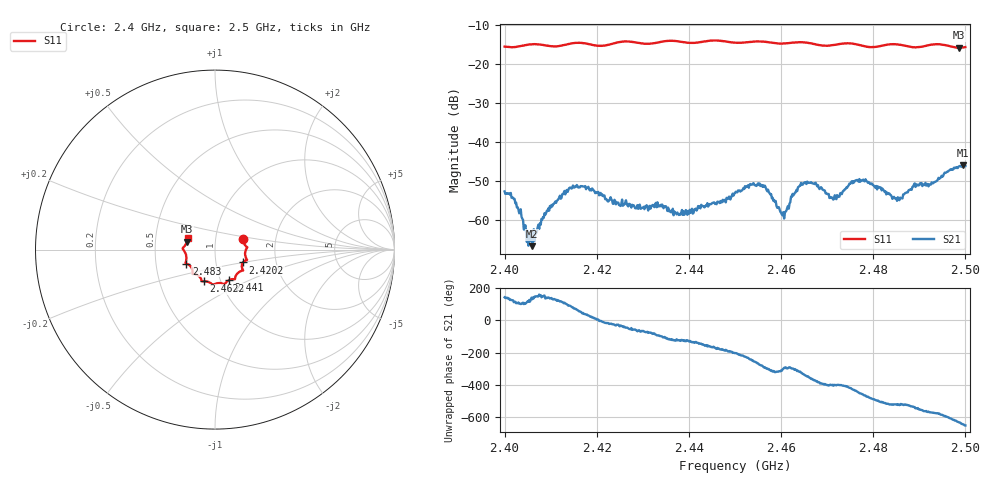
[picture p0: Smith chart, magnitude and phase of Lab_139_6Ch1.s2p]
# Hz S RI R 50
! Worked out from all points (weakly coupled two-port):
!   601 points, 2.4 GHz to 2.5 GHz, reference 50 ohm
!   highest |S21| = -46.00 dB at 2.4995 GHz (marker M1); lowest = -66.7 dB at 2.406 GHz (marker M2)
!   lowest |S11| = -15.8 dB at 2.4987 GHz (marker M3), VSWR 1.39, Z = 36.4 + j3.29 ohm
!   |S11| at or under -10 dB: start of sweep to end of sweep
!   S12 and S22 are empty: the file has one direction only
!   S11 on the Smith chart (normalised r, x): 2.4 GHz: 1.36, +0.17; 2.4202 GHz: 1.35, -0.20; 2.441 GHz: 1.10, -0.39; 2.4622 GHz: 0.83, -0.30; 2.483 GHz: 0.72, -0.12; 2.5 GHz: 0.73, +0.09
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2.4e9  0.1564 0.0605  -0.00185 0.00141  0 0  0 0
2.401833e9  0.1603 0.0384  -0.00108 0.0016  0 0  0 0
2.404667e9  0.175 0.0168  -0.000203 0.000679  0 0  0 0
2.406e9  0.1794 0.0135  -0.000299 0.000351  0 0  0 0
2.413e9  0.171 -0.0411  -0.00077 0.00223  0 0  0 0
2.416667e9  0.1776 -0.0583  0.00177 0.00207  0 0  0 0
2.420167e9  0.1562 -0.0718  0.00224 0.00016  0 0  0 0
2.433333e9  0.113 -0.1523  -0.000106 -0.00149  0 0  0 0
2.441e9  0.0768 -0.1703  -0.000883 -0.000858  0 0  0 0
2.45e9  0.0266 -0.1862  -0.00202 0.00092  0 0  0 0
2.456167e9  -0.0144 -0.1936  0.000932 0.00262  0 0  0 0
2.460333e9  -0.0462 -0.1775  0.000648 0.000948  0 0  0 0
2.462167e9  -0.0631 -0.1764  0.000917 0.00178  0 0  0 0
2.466667e9  -0.0766 -0.1667  0.00296 -0.000165  0 0  0 0
2.471e9  -0.1059 -0.1383  0.00142 -0.00128  0 0  0 0
2.4765e9  -0.1252 -0.1272  0.000395 -0.00324  0 0  0 0
2.483e9  -0.1591 -0.078  -0.00209 -0.000818  0 0  0 0
2.483333e9  -0.1608 -0.0774  -0.00202 -0.000735  0 0  0 0
2.485667e9  -0.1631 -0.07  -0.00175 -0.000415  0 0  0 0
2.498667e9  -0.1558 0.044  0.000343 0.00486  0 0  0 0
2.4995e9  -0.1534 0.0557  0.00139 0.00482  0 0  0 0
2.5e9  -0.1528 0.0626  0.00193 0.00454  0 0  0 0
